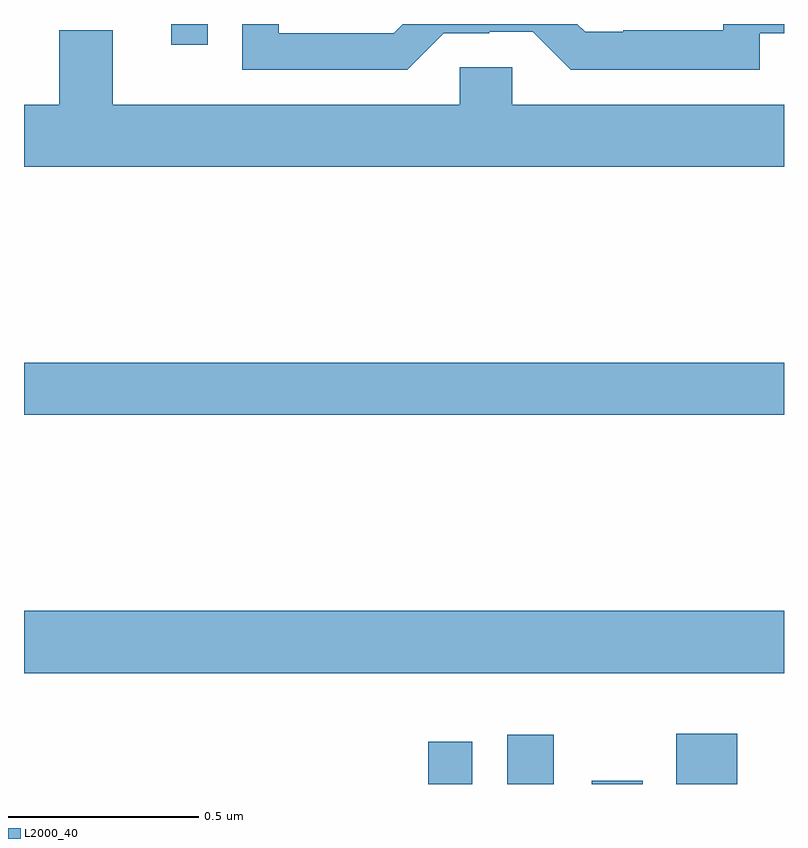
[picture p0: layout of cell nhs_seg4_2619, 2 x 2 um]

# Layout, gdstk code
import gdstk
lib = gdstk.Library(unit=1e-6, precision=1e-09)
def R(c, l, rs):  # rectangles x0, y0, x1, y1
    for r in rs: c.add(gdstk.rectangle(r[:2], r[2:], *l))
def P(c, l, *ps):  # polygons
    for p in ps: c.add(gdstk.Polygon(p, *l))
L2000_40 = (2000, 40)

nhs_seg4_2619 = lib.new_cell('nhs_seg4_2619')
R(nhs_seg4_2619, L2000_40, [(144.064,757.9,144.18,758.011), (144.272,757.9,144.394,758.029), (144.494,757.9,144.628,757.909), (144.716,757.9,144.877,758.032), (143,758.192,145,758.356), (143,758.872,145,759.008), (143.387,759.846,143.483,759.9)])
P(nhs_seg4_2619, L2000_40, [(144.936,759.876),(145,759.876),(145,759.9),(144.84,759.9),(144.84,759.883),(144.577,759.883),(144.577,759.879),(144.477,759.879),(144.456,759.9),(143.997,759.9),(143.973,759.876),(143.67,759.876),(143.67,759.9),(143.574,759.9),(143.574,759.78),(144.009,759.78),(144.105,759.876),(144.224,759.876),(144.224,759.879),(144.339,759.879),(144.439,759.779),(144.936,759.779)],
  [(145,759.688),(144.285,759.688),(144.285,759.786),(144.147,759.786),(144.147,759.688),(143.233,759.688),(143.233,759.883),(143.093,759.883),(143.093,759.688),(143,759.688),(143,759.524),(145,759.524)])

lib.write_gds('nhs_seg4_2619.gds')
